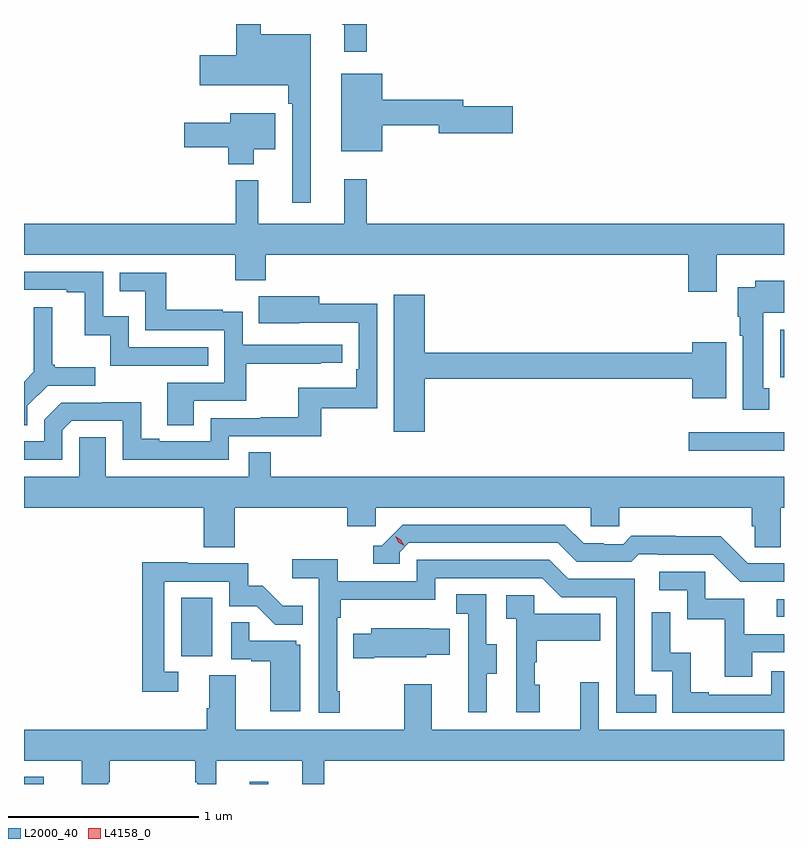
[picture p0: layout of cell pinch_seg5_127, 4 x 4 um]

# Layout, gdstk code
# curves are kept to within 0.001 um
import gdstk
lib = gdstk.Library(unit=1e-6, precision=1e-09)
def R(c, l, rs):  # rectangles x0, y0, x1, y1
    for r in rs: c.add(gdstk.rectangle(r[:2], r[2:], *l))
def P(c, l, *ps):  # polygons
    for p in ps: c.add(gdstk.Polygon(p, *l))
L2000_40 = (2000, 40)
L4158_0 = (4158, 0)

pinch_seg5_127 = lib.new_cell('pinch_seg5_127')
R(pinch_seg5_127, L2000_40, [(1065.812,880.614,1065.916,880.651), (1067.001,880.614,1067.098,880.627), (1066.64,881.286,1066.804,881.593), (1069.773,881.493,1069.812,881.586), (1069.311,882.368,1069.812,882.465), (1069.791,882.756,1069.812,883.006)])
P(pinch_seg5_127, L2000_40, [(1067.615,884.614),(1067.487,884.614),(1067.487,884.609),(1067.498,884.609),(1067.498,884.469),(1067.615,884.469)],
  [(1067.32,884.56),(1067.059,884.56),(1067.059,884.614),(1066.93,884.614),(1066.93,884.449),(1066.737,884.449),(1066.737,884.291),(1067.203,884.291),(1067.203,884.195),(1067.223,884.195),(1067.223,883.674),(1067.32,883.674)],
  [(1067.698,884.08),(1067.996,884.08),(1067.996,884.038),(1068.385,884.038),(1068.385,884.18),(1068.124,884.18),(1068.124,884.216),(1067.698,884.216),(1067.698,884.353),(1067.483,884.353),(1067.483,883.943),(1067.698,883.943)],
  [(1067.02,883.955),(1067.134,883.955),(1067.134,884.143),(1066.898,884.143),(1066.898,884.095),(1066.656,884.095),(1066.656,883.966),(1066.886,883.966),(1066.886,883.877),(1067.02,883.877)],
  [(1069.459,883.4),(1069.812,883.4),(1069.812,883.564),(1067.615,883.564),(1067.615,883.798),(1067.498,883.798),(1067.498,883.564),(1067.045,883.564),(1067.045,883.792),(1066.927,883.792),(1066.927,883.564),(1065.812,883.564),(1065.812,883.4),(1066.924,883.4),(1066.924,883.265),(1067.084,883.265),(1067.084,883.4),(1069.307,883.4),(1069.307,883.206),(1069.459,883.206)],
  [(1066.781,882.912),(1066.362,882.912),(1066.362,883.075),(1066.23,883.075),(1066.23,883.311),(1065.812,883.311),(1065.812,883.215),(1066.037,883.215),(1066.037,883.203),(1066.133,883.203),(1066.133,882.977),(1066.266,882.977),(1066.266,882.816),(1066.781,882.816)],
  [(1066.705,882.63),(1066.982,882.63),(1066.982,882.826),(1067.375,882.826),(1067.375,882.831),(1067.488,882.831),(1067.488,882.927),(1066.962,882.927),(1066.962,883.099),(1066.859,883.099),(1066.859,883.111),(1066.561,883.111),(1066.561,883.305),(1066.315,883.305),(1066.315,883.208),(1066.45,883.208),(1066.45,883.002),(1066.866,883.002),(1066.866,882.726),(1066.565,882.726),(1066.565,882.502),(1066.705,882.502)],
  [(1069.735,882.697),(1069.702,882.697),(1069.702,883.094),(1069.812,883.094),(1069.812,883.264),(1069.661,883.264),(1069.661,883.228),(1069.568,883.228),(1069.568,883.074),(1069.58,883.074),(1069.58,882.974),(1069.595,882.974),(1069.595,882.585),(1069.735,882.585)],
  [(1067.92,882.748),(1069.328,882.748),(1069.328,882.644),(1069.507,882.644),(1069.507,882.94),(1069.328,882.94),(1069.328,882.884),(1067.92,882.884),(1067.92,883.189),(1067.759,883.189),(1067.759,882.468),(1067.92,882.468)],
  [(1066.014,882.477),(1066.062,882.525),(1066.332,882.525),(1066.332,882.321),(1066.89,882.321),(1066.89,882.444),(1067.377,882.444),(1067.377,882.591),(1067.67,882.591),(1067.67,883.142),(1067.365,883.142),(1067.365,883.18),(1067.047,883.18),(1067.047,883.04),(1067.574,883.041),(1067.574,882.796),(1067.561,882.796),(1067.561,882.7),(1067.256,882.7),(1067.256,882.545),(1067.059,882.545),(1067.059,882.54),(1066.794,882.54),(1066.794,882.417),(1066.525,882.417),(1066.525,882.43),(1066.429,882.43),(1066.429,882.623),(1066.224,882.623),(1066.224,882.621),(1066.008,882.621),(1065.918,882.531),(1065.918,882.417),(1065.812,882.417),(1065.812,882.321),(1066.014,882.321)],
  [(1065.829,882.604),(1065.936,882.711),(1066.186,882.711),(1066.186,882.808),(1065.973,882.808),(1065.973,882.82),(1065.961,882.82),(1065.961,883.123),(1065.864,883.123),(1065.864,882.783),(1065.812,882.731),(1065.812,882.502),(1065.829,882.502)],
  [(1066.922,882.068),(1067.513,882.068),(1067.513,881.97),(1067.664,881.97),(1067.664,882.068),(1068.795,882.068),(1068.795,881.97),(1068.945,881.97),(1068.945,882.068),(1069.643,882.068),(1069.643,881.97),(1069.657,881.97),(1069.657,881.86),(1069.794,881.86),(1069.794,882.068),(1069.812,882.068),(1069.812,882.232),(1067.111,882.232),(1067.111,882.359),(1066.995,882.359),(1066.995,882.232),(1066.243,882.232),(1066.243,882.44),(1066.104,882.44),(1066.104,882.232),(1065.812,882.232),(1065.812,882.068),(1066.757,882.068),(1066.757,881.86),(1066.922,881.86)],
  [(1069.812,881.775),(1069.62,881.775),(1069.478,881.917),(1069.242,881.917),(1069.242,881.92),(1069.009,881.92),(1068.967,881.877),(1068.864,881.877),(1068.864,881.88),(1068.757,881.88),(1068.658,881.979),(1067.805,881.979),(1067.694,881.868),(1067.651,881.868),(1067.651,881.772),(1067.79,881.772),(1067.79,881.835),(1067.838,881.883),(1068.621,881.883),(1068.72,881.784),(1069.009,881.784),(1069.048,881.823),(1069.147,881.823),(1069.147,881.82),(1069.44,881.82),(1069.581,881.679),(1069.812,881.679)],
  [(1067.473,881.101),(1067.46,881.101),(1067.46,881.489),(1067.48,881.489),(1067.48,881.585),(1067.976,881.585),(1067.976,881.697),(1068.54,881.697),(1068.639,881.598),(1068.93,881.598),(1068.93,880.989),(1069.139,880.989),(1069.139,881.085),(1069.026,881.085),(1069.026,881.694),(1068.676,881.694),(1068.577,881.793),(1067.88,881.793),(1067.88,881.682),(1067.462,881.682),(1067.462,881.798),(1067.223,881.798),(1067.223,881.696),(1067.364,881.696),(1067.364,880.989),(1067.473,880.989)],
  [(1066.624,881.205),(1066.551,881.205),(1066.551,881.679),(1066.893,881.679),(1066.893,881.55),(1067.037,881.55),(1067.135,881.452),(1067.279,881.452),(1067.279,881.551),(1067.175,881.551),(1067.068,881.658),(1066.992,881.658),(1066.992,881.775),(1066.673,881.775),(1066.673,881.78),(1066.435,881.78),(1066.435,881.1),(1066.624,881.1)],
  [(1069.645,881.307),(1069.812,881.307),(1069.812,881.403),(1069.603,881.403),(1069.603,881.589),(1069.398,881.589),(1069.398,881.73),(1069.155,881.73),(1069.155,881.634),(1069.302,881.634),(1069.302,881.481),(1069.501,881.481),(1069.501,881.178),(1069.645,881.178)],
  [(1068.247,881.194),(1068.301,881.194),(1068.301,881.349),(1068.246,881.349),(1068.246,881.612),(1068.087,881.612),(1068.087,881.509),(1068.15,881.509),(1068.15,881.205),(1068.149,881.205),(1068.149,880.992),(1068.247,880.992)],
  [(1068.526,881.136),(1068.501,881.136),(1068.501,881.255),(1068.511,881.255),(1068.511,881.369),(1068.845,881.369),(1068.845,881.509),(1068.498,881.509),(1068.498,881.607),(1068.351,881.607),(1068.351,881.483),(1068.402,881.483),(1068.402,880.992),(1068.526,880.992)],
  [(1069.812,881.208),(1069.746,881.208),(1069.746,881.085),(1069.417,881.085),(1069.417,881.098),(1069.322,881.098),(1069.322,881.306),(1069.212,881.306),(1069.212,881.518),(1069.116,881.518),(1069.116,881.208),(1069.224,881.208),(1069.224,880.989),(1069.812,880.989)],
  [(1067.266,881.346),(1067.244,881.346),(1067.244,881.367),(1066.997,881.367),(1066.997,881.465),(1066.902,881.465),(1066.902,881.271),(1067.009,881.271),(1067.009,881.259),(1067.108,881.259),(1067.108,880.998),(1067.266,880.998)],
  [(1067.656,881.282),(1067.928,881.282),(1067.928,881.294),(1068.053,881.294),(1068.053,881.431),(1067.945,881.431),(1067.945,881.434),(1067.639,881.434),(1067.639,881.404),(1067.545,881.404),(1067.545,881.275),(1067.656,881.275)],
  [(1066.255,880.624),(1066.263,880.624),(1066.263,880.736),(1066.713,880.736),(1066.713,880.624),(1066.724,880.624),(1066.724,880.614),(1066.823,880.614),(1066.823,880.736),(1067.276,880.736),(1067.276,880.614),(1067.393,880.614),(1067.393,880.736),(1069.812,880.736),(1069.812,880.9),(1068.837,880.9),(1068.837,881.149),(1068.74,881.149),(1068.74,880.9),(1067.959,880.9),(1067.959,881.14),(1067.812,881.14),(1067.812,880.9),(1066.927,880.9),(1066.927,881.186),(1066.787,881.186),(1066.787,881.012),(1066.775,881.012),(1066.775,880.9),(1065.812,880.9),(1065.812,880.736),(1066.115,880.736),(1066.115,880.614),(1066.255,880.614)])
P(pinch_seg5_127, L4158_0, [(1067.812,881.867),(1067.781,881.886),(1067.765,881.919),(1067.765,881.919),(1067.765,881.919),(1067.796,881.9),(1067.812,881.868),(1067.812,881.867)])

lib.write_gds('pinch_seg5_127.gds')
